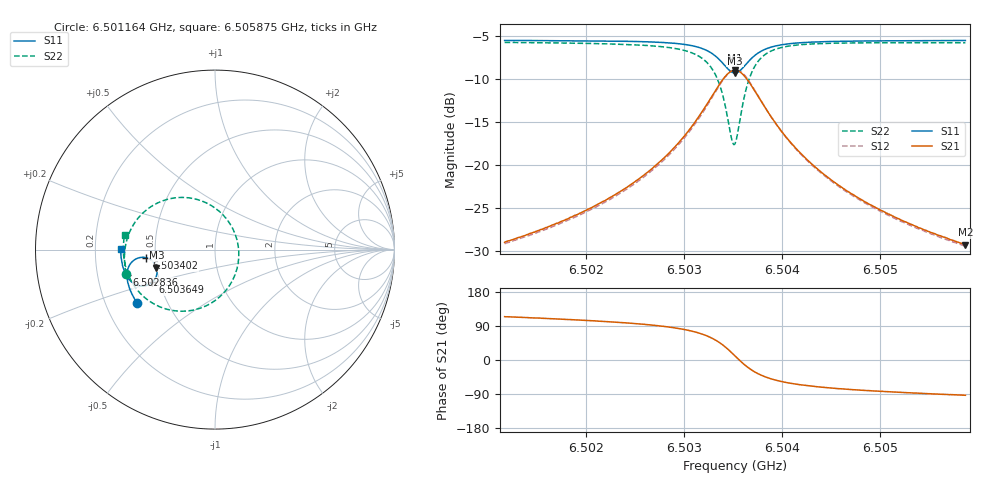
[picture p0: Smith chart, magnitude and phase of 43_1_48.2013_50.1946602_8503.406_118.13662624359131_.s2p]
#  HZ  S  RI  R  50.00
! Rohde & Schwarz Vector Network Analyzer
! Rohde-Schwarz,ZNB20-2Port,1311601062101988,3.16
! Created: UTC 3/20/2024, 11:37:56 AM
! freq[Hz]  re:S11  im:S11  re:S21  im:S21  re:S12  im:S12  re:S22  im:S22
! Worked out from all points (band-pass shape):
!   401 points, 6.501164 GHz to 6.505875 GHz, reference 50 ohm
!   highest |S21| = -9.02 dB at 6.503519 GHz (marker M1); lowest = -29.2 dB at 6.505875 GHz (marker M2)
!   |S21| within 3 dB of the highest: 6.503283 GHz to 6.503755 GHz (471.3 kHz wide, 0.00725 % of centre)
!   lowest |S11| = -9.3 dB at 6.503519 GHz (marker M3), VSWR 2.04, Z = 25 - j5.66 ohm
!   |S11| at or under -10 dB: nowhere
!   |S22| runs from -17.6 to -5.8 dB; largest |S21 - S12| = 0.012
!   S11 on the Smith chart (normalised r, x): 6.501164 GHz: 0.34, -0.27; 6.502836 GHz: 0.33, -0.12; 6.503402 GHz: 0.45, -0.05; 6.503649 GHz: 0.46, -0.20; 6.505875 GHz: 0.31, +0.00
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6.5011637e9  -0.4358 -0.2952  -0.0148 0.0325  -0.0129 0.0326  -0.4952 -0.1336
6.5019529e9  -0.4684 -0.235  -0.0138 0.0514  -0.0113 0.0508  -0.5046 -0.0457
6.5024005e9  -0.4832 -0.1936  -0.0103 0.0728  -0.00712 0.0714  -0.4986 0.0223
6.502742e9  -0.4903 -0.1535  -0.000305 0.1033  0.00333 0.1007  -0.4763 0.0966
6.5028363e9  -0.4905 -0.1401  0.00562 0.1158  0.0093 0.1127  -0.4633 0.1235
6.5030365e9  -0.4847 -0.1055  0.0308 0.1527  0.0343 0.1478  -0.411 0.1947
6.5031778e9  -0.4682 -0.0748  0.0727 0.1879  0.0753 0.1817  -0.3299 0.2548
6.5033074e9  -0.4304 -0.0478  0.1534 0.214  0.1538 0.2078  -0.1829 0.2906
6.5034016e9  -0.3818 -0.0456  0.2488 0.1958  0.2486 0.1913  -0.0177 0.2435
6.5034841e9  -0.3371 -0.0769  0.3298 0.1172  0.3324 0.1131  0.1117 0.0878
6.5035194e9  -0.326 -0.1002  0.3476 0.0661  0.3515 0.0605  0.1324 -0.00858
6.503543e9  -0.3229 -0.1173  0.3507 0.0299  0.3552 0.023  0.129 -0.0752
6.5035783e9  -0.3252 -0.1425  0.3425 -0.0222  0.3466 -0.0316  0.0993 -0.1681
6.503649e9  -0.3487 -0.1812  0.293 -0.1014  0.2932 -0.1135  -0.0175 -0.2958
6.5037432e9  -0.3913 -0.2019  0.2114 -0.1458  0.2061 -0.1564  -0.1844 -0.3433
6.5038139e9  -0.4183 -0.2019  0.1617 -0.1507  0.1547 -0.1591  -0.2773 -0.3296
6.5038963e9  -0.4422 -0.1946  0.1196 -0.1444  0.112 -0.1502  -0.3511 -0.2962
6.5040612e9  -0.4721 -0.1734  0.0699 -0.1223  0.0631 -0.1249  -0.4317 -0.2265
6.5043085e9  -0.495 -0.1422  0.0359 -0.0942  0.0307 -0.0948  -0.4808 -0.1464
6.5046501e9  -0.5105 -0.105  0.0162 -0.0698  0.0127 -0.0693  -0.5036 -0.0717
6.5050977e9  -0.5205 -0.0624  0.00551 -0.0516  0.00309 -0.0508  -0.5107 -0.00365
6.5058751e9  -0.526 0.00443  -0.00187 -0.0345  -0.00326 -0.0337  -0.5041 0.0824
